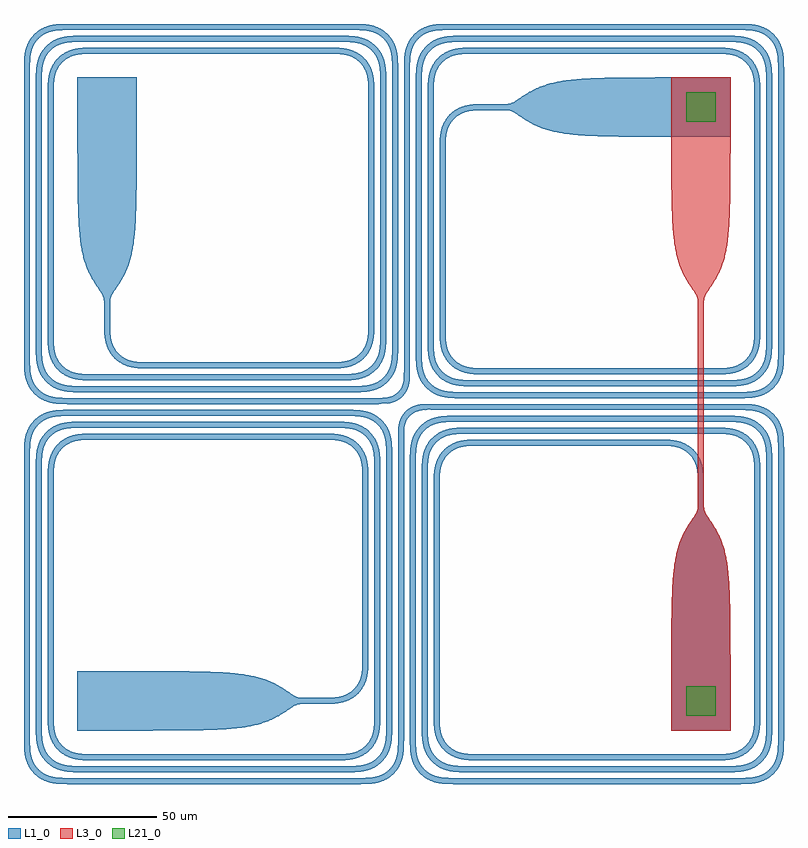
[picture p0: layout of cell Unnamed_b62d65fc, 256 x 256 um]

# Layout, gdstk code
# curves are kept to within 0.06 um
from math import pi, radians
import gdstk
lib = gdstk.Library(unit=1e-6, precision=1e-09)
def R(c, l, rs):  # rectangles x0, y0, x1, y1
    for r in rs: c.add(gdstk.rectangle(r[:2], r[2:], *l))
def P(c, l, *ps):  # polygons
    for p in ps: c.add(gdstk.Polygon(p, *l))
L1_0 = (1, 0)
L3_0 = (3, 0)
L21_0 = (21, 0)

compass_layer1__0_size20 = lib.new_cell('compass_layer1__0_size20__20')
R(compass_layer1__0_size20, L1_0, [(-10,-10,10,10)])

rectangle_layer1__0_size = lib.new_cell('rectangle_layer1__0_size20__20')
rectangle_layer1__0_size.add(gdstk.Reference(compass_layer1__0_size20, (10,10)))

optimal_step_94e4440b = lib.new_cell('optimal_step_94e4440b')
P(optimal_step_94e4440b, L1_0, [(-3.929,1),(-0.979,1.047),(0.201,1.213),(0.791,1.411),(1.971,2.053),(6.691,5.101),(9.641,6.565),(13.181,7.802),(15.54,8.378),(17.9,8.805),(23.21,9.403),(29.7,9.744),(38.549,9.92),(54.479,10),(54.479,-10),(38.549,-9.92),(28.52,-9.702),(21.44,-9.247),(18.49,-8.894),(16.13,-8.497),(12.591,-7.63),(10.821,-7.035),(9.051,-6.306),(6.101,-4.757),(1.971,-2.053),(0.791,-1.411),(0.201,-1.213),(-0.979,-1.047),(-3.929,-1)])

extrude_e6916727 = lib.new_cell('extrude_e6916727')
P(extrude_e6916727, L1_0, [(1,64),(1,112.424),(1.106,115.477),(1.333,117.124),(1.639,118.352),(2.082,119.512),(2.582,120.447),(3.299,121.454),(4.146,122.353),(5.11,123.128),(6.17,123.763),(7.648,124.361),(9.237,124.732),(11.085,124.936),(13.576,125),(113.007,124.997),(115.103,124.924),(116.763,124.732),(118.18,124.412),(119.512,123.918),(120.744,123.228),(121.854,122.353),(122.812,121.316),(123.682,119.987),(124.249,118.691),(124.631,117.302),(124.894,115.477),(124.988,113.585),(124.979,14.033),(124.732,11.237),(124.189,9.142),(123.763,8.17),(123.228,7.256),(121.982,5.768),(120.447,4.582),(119.512,4.082),(118.522,3.694),(116.399,3.212),(113.776,3.016),(15.273,3.053),(12.876,3.333),(11.142,3.811),(9.553,4.582),(8.146,5.647),(6.974,6.966),(6.01,8.649),(5.449,10.343),(5.106,12.523),(5,15.576),(5.016,109.776),(5.212,112.399),(5.694,114.522),(6.082,115.512),(6.582,116.447),(7.768,117.982),(9.256,119.228),(10.17,119.763),(11.142,120.189),(13.237,120.732),(16.033,120.979),(110.158,120.973),(112.582,120.761),(114.691,120.249),(116.447,119.418),(117.854,118.353),(119.026,117.034),(119.99,115.351),(120.592,113.48),(120.924,111.103),(121,108.424),(120.979,18.033),(120.761,15.418),(120.249,13.309),(119.418,11.553),(118.812,10.684),(118.108,9.892),(117.316,9.188),(116.447,8.582),(114.691,7.751),(112.582,7.239),(109.967,7.021),(19.273,7.053),(17.237,7.268),(15.309,7.751),(13.705,8.491),(12.277,9.528),(10.974,10.966),(10.082,12.488),(9.493,14.168),(9.143,16.152),(9,19.576),(9.021,105.967),(9.239,108.582),(9.751,110.691),(10.582,112.447),(11.768,113.982),(13.256,115.228),(14.17,115.763),(15.142,116.189),(17.237,116.732),(19.842,116.973),(106.158,116.973),(108.582,116.761),(110.522,116.306),(112.142,115.597),(113.723,114.472),(115.026,113.034),(115.99,111.351),(116.592,109.48),(116.91,107.29),(117,104.424),(116.979,22.033),(116.761,19.418),(116.249,17.309),(115.418,15.553),(114.232,14.018),(113.454,13.299),(112.447,12.582),(111.512,12.082),(110.352,11.639),(109.124,11.333),(107.848,11.143),(104.424,11),(23.842,11.027),(21.237,11.268),(19.142,11.811),(18.17,12.237),(17.256,12.772),(15.768,14.018),(14.582,15.553),(13.751,17.309),(13.239,19.418),(13.027,21.842),(13,85.424),(13.064,87.915),(13.268,89.763),(13.811,91.858),(14.237,92.83),(14.772,93.744),(15.412,94.589),(16.146,95.353),(17.705,96.509),(18.649,96.99),(19.648,97.361),(21.967,97.836),(24.608,97.992),(30.592,98),(30.592,100),(24.576,99.992),(22.141,99.867),(19.67,99.445),(17.65,98.734),(16.693,98.235),(15.616,97.515),(14.632,96.674),(13.752,95.723),(12.991,94.675),(12.358,93.545),(11.863,92.351),(11.504,91.124),(11.133,88.859),(11.002,85.825),(11,23.571),(11.114,20.346),(11.504,17.876),(12.177,15.847),(13.231,13.966),(14.632,12.326),(16.325,10.991),(18.246,10.012),(20.288,9.412),(22.755,9.081),(25.571,9),(106.229,9.028),(109.3,9.331),(110.535,9.61),(111.754,10.012),(112.93,10.554),(113.856,11.109),(114.723,11.752),(115.674,12.632),(116.515,13.616),(117.123,14.508),(117.642,15.455),(118.137,16.649),(118.738,19.112),(118.972,21.771),(119,104.429),(118.886,107.654),(118.496,110.124),(117.823,112.153),(117.235,113.307),(116.644,114.21),(115.211,115.822),(113.492,117.123),(111.553,118.064),(109.3,118.669),(106.837,118.944),(19.771,118.972),(16.7,118.669),(15.465,118.39),(14.246,117.988),(13.07,117.446),(12.144,116.891),(11.277,116.248),(10.326,115.368),(9.485,114.384),(8.877,113.492),(8.358,112.545),(7.863,111.351),(7.262,108.888),(7.028,106.229),(7,19.571),(7.114,16.346),(7.504,13.876),(8.177,11.847),(9.231,9.966),(10.632,8.326),(12.325,6.991),(14.246,6.012),(16.288,5.412),(18.755,5.081),(21.571,5),(110.229,5.028),(113.3,5.331),(114.535,5.61),(115.754,6.012),(116.93,6.554),(117.856,7.109),(118.723,7.752),(119.674,8.632),(120.515,9.616),(121.123,10.508),(121.642,11.455),(122.137,12.649),(122.738,15.112),(122.972,17.771),(123,108.429),(122.919,111.245),(122.588,113.712),(121.907,115.954),(120.891,117.856),(119.523,119.523),(117.856,120.891),(116.93,121.446),(115.754,121.988),(113.506,122.63),(111.041,122.932),(108.429,123),(15.771,122.972),(12.7,122.669),(10.447,122.064),(9.455,121.642),(8.325,121.009),(7.277,120.248),(6.477,119.523),(5.752,118.723),(4.991,117.675),(4.358,116.545),(3.936,115.553),(3.331,113.3),(3.028,110.229),(3.056,13.163),(3.37,10.494),(4.012,8.246),(4.554,7.07),(5.109,6.144),(5.752,5.277),(6.632,4.326),(8.325,2.991),(9.455,2.358),(10.447,1.936),(12.7,1.331),(15.569,1.036),(112.429,1),(115.041,1.068),(116.888,1.262),(118.74,1.668),(120.153,2.177),(121.675,2.991),(123.051,4.033),(124.109,5.112),(125.009,6.325),(125.823,7.847),(126.332,9.26),(126.669,10.7),(126.886,12.346),(126.992,14.576),(126.955,114.634),(126.768,116.681),(126.445,118.33),(125.907,119.954),(125.123,121.492),(124.248,122.723),(123.051,123.967),(121.675,125.009),(120.153,125.823),(118.74,126.332),(117.3,126.669),(115.654,126.886),(113.424,126.992),(13.571,127),(10.755,126.919),(8.7,126.669),(6.852,126.206),(5.262,125.546),(3.966,124.769),(2.789,123.822),(1.752,122.723),(0.765,121.307),(0.093,119.954),(-0.39,118.535),(-0.738,116.888),(-0.919,115.245),(-1,112.429),(-1,64)])

unnamed_9ed88755 = lib.new_cell('Unnamed_9ed88755')
unnamed_9ed88755.add(gdstk.Reference(rectangle_layer1__0_size, (89,89)))
unnamed_9ed88755.add(gdstk.Reference(optimal_step_94e4440b, (34.521,99)))
unnamed_9ed88755.add(gdstk.Reference(extrude_e6916727, (0,0)))

bend_euler_5cdde972 = lib.new_cell('bend_euler_5cdde972')
P(bend_euler_5cdde972, L1_0, [(0,-1),(2.868,-0.905),(4.956,-0.517),(5.989,-0.144),(6.835,0.287),(7.624,0.814),(8.459,1.541),(9.186,2.376),(9.713,3.165),(10.144,4.011),(10.517,5.044),(10.905,7.132),(11,10),(9,10),(8.926,7.456),(8.63,5.722),(7.988,4.177),(7.044,2.956),(5.823,2.012),(4.278,1.37),(2.544,1.074),(0,1)])

straight_7c2f06ce = lib.new_cell('straight_7c2f06ce')
R(straight_7c2f06ce, L1_0, [(0,-1,54,1)])

straight_0af1f03d = lib.new_cell('straight_0af1f03d')
R(straight_0af1f03d, L1_0, [(0,-1,56,1)])

compass_layer21__0_size1 = lib.new_cell('compass_layer21__0_size10__10')
R(compass_layer21__0_size1, L21_0, [(-5,-5,5,5)])

rectangle_layer21__0_siz = lib.new_cell('rectangle_layer21__0_size10__10')
rectangle_layer21__0_siz.add(gdstk.Reference(compass_layer21__0_size1, (5,5)))

compass_layer3__0_size20 = lib.new_cell('compass_layer3__0_size20__20')
R(compass_layer3__0_size20, L3_0, [(-10,-10,10,10)])

rectangle_layer3__0_size = lib.new_cell('rectangle_layer3__0_size20__20')
rectangle_layer3__0_size.add(gdstk.Reference(compass_layer3__0_size20, (10,10)))

optimal_step_c4484f45 = lib.new_cell('optimal_step_c4484f45')
P(optimal_step_c4484f45, L3_0, [(-3.929,1),(-0.979,1.047),(0.201,1.213),(0.791,1.411),(1.971,2.053),(6.691,5.101),(9.641,6.565),(13.181,7.802),(15.54,8.378),(17.9,8.805),(23.21,9.403),(29.7,9.744),(38.549,9.92),(54.479,10),(54.479,-10),(38.549,-9.92),(28.52,-9.702),(21.44,-9.247),(18.49,-8.894),(16.13,-8.497),(12.591,-7.63),(10.821,-7.035),(9.051,-6.306),(6.101,-4.757),(1.971,-2.053),(0.791,-1.411),(0.201,-1.213),(-0.979,-1.047),(-3.929,-1)])

optimal_step_rotate_4093 = lib.new_cell('optimal_step_rotate_4093d7df')
optimal_step_rotate_4093.add(gdstk.Reference(optimal_step_c4484f45, (0,0), rotation=pi/2))

straight_df31a4e6 = lib.new_cell('straight_df31a4e6')
R(straight_df31a4e6, L3_0, [(0,-1,63.184,1)])

unnamed_b62d65fc = lib.new_cell('Unnamed_b62d65fc')
unnamed_b62d65fc.add(gdstk.Reference(unnamed_9ed88755, (0,0)))
unnamed_b62d65fc.add(gdstk.Reference(unnamed_9ed88755, (-2,0), rotation=pi/2))
unnamed_b62d65fc.add(gdstk.Reference(unnamed_9ed88755, (-2,-2), rotation=pi))
unnamed_b62d65fc.add(gdstk.Reference(unnamed_9ed88755, (0,-2), rotation=3*pi/2))
unnamed_b62d65fc.add(gdstk.Reference(bend_euler_5cdde972, (0,10), rotation=3*pi/2, x_reflection=True))
unnamed_b62d65fc.add(gdstk.Reference(straight_7c2f06ce, (0,64), rotation=3*pi/2))
unnamed_b62d65fc.add(gdstk.Reference(straight_0af1f03d, (-10,0), rotation=pi))
unnamed_b62d65fc.add(gdstk.Reference(bend_euler_5cdde972, (-2,-12), rotation=pi/2, x_reflection=True))
unnamed_b62d65fc.add(gdstk.Reference(straight_7c2f06ce, (-2,-66), rotation=pi/2))
unnamed_b62d65fc.add(gdstk.Reference(straight_0af1f03d, (8,-2)))
unnamed_b62d65fc.add(gdstk.Reference(rectangle_layer21__0_siz, (94,94)))
unnamed_b62d65fc.add(gdstk.Reference(rectangle_layer21__0_siz, (94,-96), rotation=3*pi/2))
unnamed_b62d65fc.add(gdstk.Reference(rectangle_layer3__0_size, (89,89)))
unnamed_b62d65fc.add(gdstk.Reference(rectangle_layer3__0_size, (89,-111)))
unnamed_b62d65fc.add(gdstk.Reference(optimal_step_rotate_4093, (99,34.521)))
unnamed_b62d65fc.add(gdstk.Reference(optimal_step_rotate_4093, (99,-36.521), rotation=pi))
unnamed_b62d65fc.add(gdstk.Reference(straight_df31a4e6, (99,30.592), rotation=3*pi/2))

lib.write_gds('Unnamed_b62d65fc.gds')
